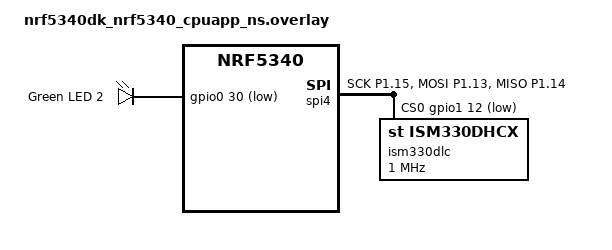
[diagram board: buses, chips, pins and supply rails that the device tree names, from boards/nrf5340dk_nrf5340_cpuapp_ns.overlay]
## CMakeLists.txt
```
cmake_minimum_required(VERSION 3.20.0)
find_package(Zephyr REQUIRED HINTS $ENV{ZEPHYR_BASE})

project(footpod-firmware)

target_sources(app PRIVATE
    src/main.c
    src/ux.c
    src/imu_service.c
)

set(DTC_OVERLAY_FILE "${CMAKE_CURRENT_SOURCE_DIR}/boards/nrf5340dk_nrf5340_cpuapp.overlay")
set(mcuboot_CONF_FILE ${CMAKE_CURRENT_SOURCE_DIR}/child_image/mcuboot.conf)
```

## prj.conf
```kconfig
# === Bluetooth Settings ===
CONFIG_BT=y
CONFIG_BT_PERIPHERAL=y
CONFIG_BT_DEVICE_NAME="nRF5340-IMU"
CONFIG_BT_MAX_CONN=1
CONFIG_BT_HCI_ACL_FLOW_CONTROL=y

# --- High-Throughput BLE Settings ---
CONFIG_BT_USER_PHY_UPDATE=y
CONFIG_BT_USER_DATA_LEN_UPDATE=y
CONFIG_BT_L2CAP_TX_MTU=251
CONFIG_BT_BUF_ACL_TX_SIZE=255
CONFIG_BT_BUF_ACL_TX_COUNT=8

CONFIG_BT_BUF_ACL_TX_SIZE=251
CONFIG_BT_BUF_ACL_RX_SIZE=251
CONFIG_BT_L2CAP_TX_MTU=247

# === System Settings ===
CONFIG_LOG=y
CONFIG_LOG_DEFAULT_LEVEL=3
CONFIG_ENTROPY_GENERATOR=y

# --- FPU and Math Support ---
CONFIG_FPU=y
CONFIG_CBPRINTF_FP_SUPPORT=y

# === Sensor & Peripherals ===
CONFIG_SENSOR=y
CONFIG_ISM330DHCX=y
CONFIG_SPI=y

# --- All-Day Burst feature ---
CONFIG_RING_BUFFER=y

# --- DFU support ---
# CONFIG_NCS_SAMPLE_MCUMGR_BT_OTA_DFU=y
# CONFIG_BOOTLOADER_MCUBOOT=y
# CONFIG_MCUMGR=y
# CONFIG_MCUMGR_TRANSPORT_BT=y
# CONFIG_IMG_MANAGER=y
# CONFIG_FLASH_MAP=y
# CONFIG_FLASH=y
# CONFIG_STREAM_FLASH=y
# CONFIG_NET_BUF=y
# CONFIG_ZCBOR=y
# CONFIG_CRC=y
# CONFIG_MCUMGR_GRP_IMG=y
# CONFIG_MCUMGR_GRP_OS=y
# CONFIG_MCUMGR_GRP_OS_BOOTLOADER_INFO=y
# CONFIG_MCUMGR_TRANSPORT_BT_REASSEMBLY=y
# === Bluetooth Settings ===


# === MCUboot Bootloader + SMP DFU ===
CONFIG_BOOTLOADER_MCUBOOT=y
CONFIG_MCUMGR=y
CONFIG_MCUMGR_TRANSPORT_BT=y
CONFIG_MCUMGR_GRP_IMG=y
CONFIG_MCUMGR_GRP_OS=y
CONFIG_IMG_MANAGER=y
# CONFIG_IMG_ERASE_PROGRESSIVELY=y

# === Flash and Storage ===
# CONFIG_MPU_ALLOW_FLASH_WRITE=y

# === Memory Management ===
# CONFIG_MINIMAL_LIBC=y
# CONFIG_HEAP_MEM_POOL_SIZE=4096

# === Utility Features ===
CONFIG_RING_BUFFER=y

CONFIG_ZCBOR=y

# --- MCUmgr / DFU (must be present) ---
CONFIG_MCUMGR_MGMT_NOTIFICATION_HOOKS=y


# Optional: allow unauthenticated SMP (depends on your security needs)
# If you prefer the generic transport symbol name (some NCS variants), keep it too:
# CONFIG_MCUMGR_TRANSPORT_BT=y

# Ensure image manager and img mgmt are enabled for DFU
# CONFIG_IMG_BLOCK_BUF_SIZE=2048


CONFIG_BT_GATT_DYNAMIC_DB=y
CONFIG_MCUMGR_TRANSPORT_BT_DYNAMIC_SVC_REGISTRATION=y
```

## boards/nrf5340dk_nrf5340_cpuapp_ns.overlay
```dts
/ {
    aliases {
        led2 = &led2;
    };

    leds {
        led2: led_2 {
            gpios = <&gpio0 30 GPIO_ACTIVE_LOW>;
            label = "Green LED 2";
        };
    };
};

&spi4 {
    status = "okay";
    pinctrl-0 = <&spi4_default>;
    pinctrl-1 = <&spi4_sleep>;
    pinctrl-names = "default", "sleep";
    cs-gpios = <&gpio1 12 GPIO_ACTIVE_LOW>;

    ism330dlc: ism330dhcx@0 {
        compatible = "st,ism330dhcx";
        reg = <0>;
        spi-max-frequency = <1000000>;
    };
};

&pinctrl {
    spi4_default: spi4_default {
        group1 {
            psels = <NRF_PSEL(SPIM_SCK, 1, 15)>,
                    <NRF_PSEL(SPIM_MOSI, 1, 13)>,
                    <NRF_PSEL(SPIM_MISO, 1, 14)>;
        };
    };

    spi4_sleep: spi4_sleep {
        group1 {
            psels = <NRF_PSEL(SPIM_SCK, 1, 15)>,
                    <NRF_PSEL(SPIM_MOSI, 1, 13)>,
                    <NRF_PSEL(SPIM_MISO, 1, 14)>;
            low-power-enable;
        };
    };
};
```

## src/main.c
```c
#include <zephyr/kernel.h>
#include <zephyr/drivers/spi.h>
#include <zephyr/device.h>
#include <zephyr/devicetree.h>
#include <zephyr/drivers/sensor.h>
#include <zephyr/drivers/gpio.h>
#include <zephyr/sys/printk.h>
#include <zephyr/bluetooth/bluetooth.h>
#include <zephyr/bluetooth/hci.h>
#include <zephyr/sys_clock.h>
#include <zephyr/sys/ring_buffer.h>
#include <math.h>
#include "imu_service.h"

#define LOG_LEVEL LOG_LEVEL_INF
#include <zephyr/logging/log.h>
LOG_MODULE_REGISTER(main);

/* SPI specification for ISM330DLC */
static const struct spi_dt_spec imu_spi_spec = SPI_DT_SPEC_GET(DT_NODELABEL(ism330dlc),
                                                               SPI_WORD_SET(8) | SPI_TRANSFER_MSB,
                                                               0);


/* --- Sensor and Application Logic --- */
#define IMU_FRAME_SIZE 24
#define BATCH_SIZE 10
#define PRE_TRIGGER_SAMPLES 26    // 1 s at 26 Hz
#define POST_TRIGGER_SAMPLES 2000 // 4 s at 500 Hz
#define BURST_DURATION_MS 20000   // 20 s
#define BURST_MAX_MS 60000        // 60 s
#define COOLDOWN_MS 10000         // 10 s
#define DAILY_BUDGET_S 1200       // 20 min
#define STEP_THRESHOLD_G 1.5      // Accel magnitude threshold
#define STEP_MIN_MS 285           // 210 spm (3.5 Hz)
#define STEP_MAX_MS 1250          // 48 spm (0.8 Hz)
#define STEP_COUNT_TRIGGER 8

static uint8_t batch_buffer[BATCH_SIZE * IMU_FRAME_SIZE];
static int batch_index = 0;
static uint16_t seq_id = 0;
static uint8_t pre_trigger_buffer[PRE_TRIGGER_SAMPLES * IMU_FRAME_SIZE];
static struct ring_buf pre_trigger_rb;
static uint32_t total_burst_ms = 0;
static int64_t last_step_time = 0;
static int step_count = 0;
static int64_t burst_start_time = 0;
static int64_t cooldown_start_time = 0;
static int post_trigger_samples_left = 0;

/* --- Devicetree Aliases --- */
static const struct device *const imu_dev = DEVICE_DT_GET(DT_NODELABEL(ism330dlc));
static const struct gpio_dt_spec button = GPIO_DT_SPEC_GET(DT_ALIAS(sw0), gpios);
static const struct gpio_dt_spec led = GPIO_DT_SPEC_GET(DT_ALIAS(led2), gpios);

/* --- Advertising Data --- */
static const struct bt_data ad[] = {
    BT_DATA_BYTES(BT_DATA_FLAGS, (BT_LE_AD_GENERAL | BT_LE_AD_NO_BREDR)),
    BT_DATA_BYTES(BT_DATA_UUID128_ALL,
                  BT_UUID_128_ENCODE(0x12345678, 0x1234, 0x5678, 0x1234, 0x1234567890ab)),
};

/* --- Application State --- */
enum app_state
{
    APP_STATE_IDLE,
    APP_STATE_SESSION,
    APP_STATE_ALLDAY,
    APP_STATE_BURST,
    APP_STATE_COOLDOWN,
};
static volatile enum app_state current_state = APP_STATE_IDLE;

/* --- Button Handling --- */
static struct gpio_callback button_cb_data;
static int64_t button_press_time = 0;

void button_pressed(const struct device *dev, struct gpio_callback *cb, uint32_t pins)
{
    int64_t now = k_uptime_get();
    if (button_press_time == 0)
    {
        button_press_time = now;
        return;
    }

    int64_t duration_ms = now - button_press_time;
    button_press_time = 0;

    if (duration_ms >= 3000) // 3 s for All-Day Mode toggle
    {
        if (current_state == APP_STATE_IDLE)
        {
            current_state = APP_STATE_ALLDAY;
            gpio_pin_set_dt(&led, 1); // Slow pulse handled in main loop
            LOG_INF("State -> ALLDAY (Low-power sampling)");
        }
        else if (current_state == APP_STATE_ALLDAY || current_state == APP_STATE_BURST || current_state == APP_STATE_COOLDOWN)
        {
            current_state = APP_STATE_IDLE;
            gpio_pin_set_dt(&led, 0);
            LOG_INF("State -> IDLE (Sampling OFF)");
            if (batch_index > 0)
            {
                imu_service_notify_motion(batch_buffer, batch_index * IMU_FRAME_SIZE);
                batch_index = 0;
            }
        }
    }
    else // Short press for Session Mode toggle
    {
        if (current_state == APP_STATE_IDLE || current_state == APP_STATE_ALLDAY)
        {
            current_state = APP_STATE_SESSION;
            gpio_pin_set_dt(&led, 1);
            LOG_INF("State -> SESSION (Streaming ON)");
        }
        else if (current_state == APP_STATE_SESSION)
        {
            current_state = APP_STATE_IDLE;
            gpio_pin_set_dt(&led, 0);
            LOG_INF("State -> IDLE (Streaming OFF)");
            if (batch_index > 0)
            {
                imu_service_notify_motion(batch_buffer, batch_index * IMU_FRAME_SIZE);
                batch_index = 0;
            }
        }
    }
}

static int button_init(void)
{
    if (!device_is_ready(button.port))
    {
        LOG_ERR("Button device not ready");
        return -ENODEV;
    }
    int ret = gpio_pin_configure_dt(&button, GPIO_INPUT);
    if (ret)
        return ret;

    ret = gpio_pin_interrupt_configure_dt(&button, GPIO_INT_EDGE_BOTH);
    if (ret)
        return ret;

    gpio_init_callback(&button_cb_data, button_pressed, BIT(button.pin));
    gpio_add_callback(button.port, &button_cb_data);
    LOG_INF("Button initialized");
    return 0;
}

static int16_t scale_accel_to_int16(const struct sensor_value *val)
{
    double scaled_val = sensor_value_to_double(val) * 1671.0;
    return CLAMP(scaled_val, INT16_MIN, INT16_MAX);
}

static int16_t scale_gyro_to_int16(const struct sensor_value *val)
{
    double scaled_val = sensor_value_to_double(val) * 7500.0;
    return CLAMP(scaled_val, INT16_MIN, INT16_MAX);
}

static void log_imu_frame(const uint8_t *frame)
{
    uint16_t seq_id;
    uint64_t timestamp_us;
    int16_t ax, ay, az, gx, gy, gz, temp_centi;

    memcpy(&seq_id, &frame[0], sizeof(seq_id));
    memcpy(&timestamp_us, &frame[2], sizeof(timestamp_us));
    memcpy(&ax, &frame[10], sizeof(ax));
    memcpy(&ay, &frame[12], sizeof(ay));
    memcpy(&az, &frame[14], sizeof(az));
    memcpy(&gx, &frame[16], sizeof(gx));
    memcpy(&gy, &frame[18], sizeof(gy));
    memcpy(&gz, &frame[20], sizeof(gz));
    memcpy(&temp_centi, &frame[22], sizeof(temp_centi)); 

    LOG_INF("Frame Seq=%u Time=%llu us", seq_id, timestamp_us);
    LOG_INF("Accel[g*1671]= X:%d Y:%d Z:%d", ax, ay, az);
    LOG_INF("Gyro[*7500]= X:%d Y:%d Z:%d", gx, gy, gz);
    LOG_INF("Temp[°C*100]= %d (%.2f °C)", temp_centi, temp_centi / 100.0);

    // Also show raw hex bytes for BLE payload
    char hex[IMU_FRAME_SIZE * 3 + 1];
    for (int i = 0; i < IMU_FRAME_SIZE; i++)
        sprintf(&hex[i * 3], "%02X ", frame[i]);
    hex[IMU_FRAME_SIZE * 3] = '\0';
    LOG_INF("Raw BLE frame: %s", hex);
}

/**
 * Read the temperature from the IMU via SPI and return it as °C * 100.
 * According to datasheet: T(°C) = 25 + (TEMP_OUT / 16)
 */
static int16_t read_imu_temperature(void) {
    if (!device_is_ready(imu_spi_spec.bus)) {
        LOG_ERR("SPI bus not ready");
        return INT16_MIN;
    }

    // Prepare TX to read from OUT_TEMP_L and OUT_TEMP_H (auto-increment)
    // For SPI, set MSB of reg address for read; 
    // if auto-inc needed, set the auto-increment bit (usually bit 7 or such) 
    uint8_t tx_buf[3] = {0x20 | 0x80, 0x00, 0x00};
    uint8_t rx_buf[3] = {0};

    const struct spi_buf tx = {.buf = tx_buf, .len = sizeof(tx_buf)};
    const struct spi_buf rx = {.buf = rx_buf, .len = sizeof(rx_buf)};
    const struct spi_buf_set tx_set = {.buffers = &tx, .count = 1};
    const struct spi_buf_set rx_set = {.buffers = &rx, .count = 1};

    int ret = spi_transceive_dt(&imu_spi_spec, &tx_set, &rx_set);
    if (ret < 0) {
        LOG_ERR("Failed temp SPI read (err %d)", ret);
        return INT16_MIN;
    }

    // rx_buf[1] holds OUT_TEMP_L, rx_buf[2] OUT_TEMP_H
    uint16_t raw_u = (uint16_t)((rx_buf[2] << 8) | rx_buf[1]);
    int16_t raw = (int16_t)raw_u;  // interpret as signed

    // Convert per datasheet
    float temp_c = 25.0f + ((float)raw / 256.0f);
    int16_t temp_centi = (int16_t)(temp_c * 100.0f);

    return temp_centi;
}

static void read_and_process_imu(bool high_freq)
{
    uint8_t frame[IMU_FRAME_SIZE] = {0};
    struct sensor_value accel[3], gyro[3];
    int16_t temp_cx100;

    if (sensor_sample_fetch(imu_dev) < 0)
    {
        LOG_ERR("Sensor sample fetch failed");
        return;
    }

    sensor_channel_get(imu_dev, SENSOR_CHAN_ACCEL_XYZ, accel);
    sensor_channel_get(imu_dev, SENSOR_CHAN_GYRO_XYZ, gyro);
    
    temp_cx100 = read_imu_temperature();

    uint16_t current_seq_id = seq_id++;
    uint64_t timestamp_us = k_ticks_to_us_floor64(k_uptime_ticks());
    memcpy(&frame[0], &current_seq_id, sizeof(current_seq_id));
    memcpy(&frame[2], &timestamp_us, sizeof(timestamp_us));

    int16_t ax = scale_accel_to_int16(&accel[0]);
    int16_t ay = scale_accel_to_int16(&accel[1]);
    int16_t az = scale_accel_to_int16(&accel[2]);
    int16_t gx = scale_gyro_to_int16(&gyro[0]);
    int16_t gy = scale_gyro_to_int16(&gyro[1]);
    int16_t gz = scale_gyro_to_int16(&gyro[2]);

    memcpy(&frame[10], &ax, sizeof(ax));
    memcpy(&frame[12], &ay, sizeof(ay));
    memcpy(&frame[14], &az, sizeof(az));
    memcpy(&frame[16], &gx, sizeof(gx));
    memcpy(&frame[18], &gy, sizeof(gy));
    memcpy(&frame[20], &gz, sizeof(gz));
    memcpy(&frame[22], &temp_cx100, sizeof(temp_cx100));

    if (high_freq)
    {
        memcpy(&batch_buffer[batch_index * IMU_FRAME_SIZE], frame, IMU_FRAME_SIZE);
        batch_index++;
        if (batch_index == BATCH_SIZE)
        {
            imu_service_notify_motion(batch_buffer, BATCH_SIZE * IMU_FRAME_SIZE);
            batch_index = 0;
        }
    }
    else
    {
        ring_buf_put(&pre_trigger_rb, frame, IMU_FRAME_SIZE);
        if (ring_buf_space_get(&pre_trigger_rb) == 0)
        {
            uint8_t temp[IMU_FRAME_SIZE];
            ring_buf_get(&pre_trigger_rb, temp, IMU_FRAME_SIZE);
        }
        log_imu_frame(frame);
        imu_service_notify_motion(frame, IMU_FRAME_SIZE); // Single sample for low freq
    }

    if (current_state == APP_STATE_ALLDAY)
    {
        double ax_g = sensor_value_to_double(&accel[0]);
        double ay_g = sensor_value_to_double(&accel[1]);
        double az_g = sensor_value_to_double(&accel[2]);
        double mag = sqrt(ax_g * ax_g + ay_g * ay_g + az_g * az_g);

        int64_t now = k_uptime_get();
        int64_t delta_ms = now - last_step_time;

        if (mag > STEP_THRESHOLD_G && delta_ms >= STEP_MIN_MS && delta_ms <= STEP_MAX_MS)
        {
            step_count++;
            last_step_time = now;
            LOG_INF("Step detected, count: %d", step_count);
            if (step_count >= STEP_COUNT_TRIGGER && total_burst_ms < DAILY_BUDGET_S * 1000)
            {
                current_state = APP_STATE_BURST;
                burst_start_time = now;
                // Copy pre-trigger buffer to batch
                uint32_t bytes = ring_buf_get(&pre_trigger_rb, batch_buffer, PRE_TRIGGER_SAMPLES * IMU_FRAME_SIZE);
                batch_index = bytes / IMU_FRAME_SIZE;
                LOG_INF("State -> BURST (Steps detected)");
            }
        }
        else if (delta_ms > STEP_MAX_MS)
        {
            step_count = 0; // Reset if too long between steps
        }
    }
}

static int sensor_imu_init(void)
{
    if (!device_is_ready(imu_dev))
    {
        LOG_ERR("IMU not ready");
        return -ENODEV;
    }
    struct sensor_value odr_attr = {.val1 = 26, .val2 = 0}; // Default to 26 Hz
    if (sensor_attr_set(imu_dev, SENSOR_CHAN_ACCEL_XYZ, SENSOR_ATTR_SAMPLING_FREQUENCY, &odr_attr) != 0)
    {
        LOG_ERR("Failed to set accel ODR");
        return -EIO;
    }
    if (sensor_attr_set(imu_dev, SENSOR_CHAN_GYRO_XYZ, SENSOR_ATTR_SAMPLING_FREQUENCY, &odr_attr) != 0)
    {
        LOG_ERR("Failed to set gyro ODR");
        return -EIO;
    }
    LOG_INF("IMU sensor configured for 26 Hz");
    return 0;
}

static int set_imu_odr(int freq_hz)
{
    struct sensor_value odr_attr = {.val1 = freq_hz, .val2 = 0};
    if (sensor_attr_set(imu_dev, SENSOR_CHAN_ACCEL_XYZ, SENSOR_ATTR_SAMPLING_FREQUENCY, &odr_attr) != 0)
    {
        LOG_ERR("Failed to set accel ODR to %d Hz", freq_hz);
        return -EIO;
    }
    if (sensor_attr_set(imu_dev, SENSOR_CHAN_GYRO_XYZ, SENSOR_ATTR_SAMPLING_FREQUENCY, &odr_attr) != 0)
    {
        LOG_ERR("Failed to set gyro ODR to %d Hz", freq_hz);
        return -EIO;
    }
    LOG_INF("IMU ODR set to %d Hz", freq_hz);
    return 0;
}

void main(void)
{
    int err;
    LOG_INF("IMU BLE Auto-Burst Example Starting...");

    if (!device_is_ready(led.port))
    {
        LOG_ERR("LED device not ready");
        return;
    }
    err = gpio_pin_configure_dt(&led, GPIO_OUTPUT_INACTIVE);
    if (err)
    {
        LOG_ERR("Failed to configure LED");
        return;
    }

    err = button_init();
    if (err)
    {
        LOG_ERR("Failed to initialize button");
        return;
    }

    err = sensor_imu_init();
    if (err)
    {
        LOG_ERR("Failed to initialize sensor");
        return;
    }

    ring_buf_init(&pre_trigger_rb, PRE_TRIGGER_SAMPLES * IMU_FRAME_SIZE, pre_trigger_buffer);

    err = bt_enable(NULL);
    if (err)
    {
        LOG_ERR("Bluetooth init failed (err %d)", err);
        return;
    }
    LOG_INF("Bluetooth initialized");

    imu_service_init();

    err = bt_le_adv_start(BT_LE_ADV_CONN_NAME, ad, ARRAY_SIZE(ad), NULL, 0);
    if (err)
    {
        LOG_ERR("Advertising failed to start (err %d)", err);
        return;
    }
    LOG_INF("Advertising started. Short press for session, 3s press for all-day mode, or write to Control char.");

    int64_t last_budget_reset = k_uptime_get();
    while (1)
    {
        if (current_state == APP_STATE_IDLE && imu_service_is_start_commanded())
        {
            current_state = APP_STATE_SESSION;
            gpio_pin_set_dt(&led, 1);
            LOG_INF("State -> SESSION (Host start command)");
        }

        if (current_state == APP_STATE_SESSION)
        {
            set_imu_odr(520);
            read_and_process_imu(true);
            k_sleep(K_MSEC(2));       // 500 Hz
            gpio_pin_set_dt(&led, 1); // Solid for session
        }
        else if (current_state == APP_STATE_ALLDAY)
        {
            set_imu_odr(26);
            read_and_process_imu(false);
            k_sleep(K_MSEC(38)); // ~26 Hz
            // Slow pulse for ALLDAY
            gpio_pin_set_dt(&led, (k_uptime_get() % 1000) < 500 ? 1 : 0);
        }
        else if (current_state == APP_STATE_BURST)
        {
            set_imu_odr(520);
            read_and_process_imu(true);
            int64_t now = k_uptime_get();
            if (step_count == 0 && post_trigger_samples_left == 0)
            {
                post_trigger_samples_left = POST_TRIGGER_SAMPLES;
            }
            if (post_trigger_samples_left > 0)
            {
                post_trigger_samples_left--;
                if (post_trigger_samples_left == 0)
                {
                    current_state = APP_STATE_COOLDOWN;
                    cooldown_start_time = now;
                    LOG_INF("State -> COOLDOWN (Post-trigger complete)");
                }
            }
            else if (now - burst_start_time >= BURST_MAX_MS || total_burst_ms >= DAILY_BUDGET_S * 1000)
            {
                current_state = APP_STATE_COOLDOWN;
                cooldown_start_time = now;
                LOG_INF("State -> COOLDOWN (Burst timeout or budget exceeded)");
            }
            total_burst_ms += 2;
            k_sleep(K_MSEC(2)); // 500 Hz
            // Fast blink for BURST
            gpio_pin_set_dt(&led, (k_uptime_get() % 200) < 100 ? 1 : 0);
        }
        else if (current_state == APP_STATE_COOLDOWN)
        {
            if (batch_index > 0)
            {
                imu_service_notify_motion(batch_buffer, batch_index * IMU_FRAME_SIZE);
                batch_index = 0;
            }
            int64_t now = k_uptime_get();
            if (now - cooldown_start_time >= COOLDOWN_MS)
            {
                current_state = APP_STATE_ALLDAY;
                step_count = 0;
                LOG_INF("State -> ALLDAY (Cooldown complete)");
            }
            k_sleep(K_MSEC(38));      // ~26 Hz
            gpio_pin_set_dt(&led, 0); // Off for cooldown
        }
        else
        {
            k_sleep(K_MSEC(100)); // Idle
            gpio_pin_set_dt(&led, 0);
        }

        // Reset daily budget every 24 hours
        if (k_uptime_get() - last_budget_reset >= 24 * 60 * 60 * 1000)
        {
            total_burst_ms = 0;
            last_budget_reset = k_uptime_get();
            LOG_INF("Daily burst budget reset");
        }
    }
}
```

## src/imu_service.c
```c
#include "imu_service.h"

#include <zephyr/kernel.h>
#include <zephyr/sys/printk.h>
#include <zephyr/random/random.h>
#include <zephyr/sys/util.h>
#include <zephyr/bluetooth/bluetooth.h>
#include <zephyr/bluetooth/conn.h>
#include <zephyr/bluetooth/gatt.h>
#include <string.h>
#include <errno.h>
#include <stdint.h>

/* --- UUIDs (custom 128-bit) --- */
static struct bt_uuid_128 imu_service_uuid = BT_UUID_INIT_128(
    BT_UUID_128_ENCODE(0x12345678, 0x1234, 0x5678, 0x1234, 0x1234567890ab));

static struct bt_uuid_128 imu_motion_char_uuid = BT_UUID_INIT_128(
    BT_UUID_128_ENCODE(0x12345679, 0x1234, 0x5678, 0x1234, 0x1234567890ab));

static struct bt_uuid_128 imu_control_char_uuid = BT_UUID_INIT_128(
    BT_UUID_128_ENCODE(0x1234567a, 0x1234, 0x5678, 0x1234, 0x1234567890ab));

/* Track whether notifications enabled (by CCCD) */
static bool motion_notify_enabled;
static bool start_commanded;

/* Track single reference to the current connection (if any) */
static struct bt_conn *default_conn;

/* Attribute indices */
enum
{
    ATTR_IDX_PRIMARY = 0,
    ATTR_IDX_MOTION_CHRC,
    ATTR_IDX_MOTION_VAL,
    ATTR_IDX_MOTION_CCCD,
    ATTR_IDX_CONTROL_CHRC,
    ATTR_IDX_CONTROL_VAL,
    ATTR_COUNT
};

/* CCC config changed callback */
static void imu_motion_ccc_cfg_changed(const struct bt_gatt_attr *attr, uint16_t value)
{
    ARG_UNUSED(attr);
    motion_notify_enabled = (value == BT_GATT_CCC_NOTIFY) ? true : false;
    printk("IMU: motion notify %s\n", motion_notify_enabled ? "ENABLED" : "DISABLED");
}

/* Motion read handler */
static ssize_t imu_motion_read(struct bt_conn *conn,
                               const struct bt_gatt_attr *attr,
                               void *buf, uint16_t len, uint16_t offset)
{
    const char *payload = "IMUv1";
    return bt_gatt_attr_read(conn, attr, buf, len, offset, payload, strlen(payload));
}

/* Control write handler */
static ssize_t imu_control_write(struct bt_conn *conn,
                                 const struct bt_gatt_attr *attr,
                                 const void *buf, uint16_t len, uint16_t offset,
                                 uint8_t flags)
{
    if (len != 1 || offset != 0)
    {
        return BT_GATT_ERR(BT_ATT_ERR_INVALID_ATTRIBUTE_LEN);
    }
    uint8_t command = ((uint8_t *)buf)[0];
    if (command == 0x01) // Start command
    {
        start_commanded = true;
        printk("IMU: Start command received\n");
    }
    return len;
}

/* GATT service definition */
BT_GATT_SERVICE_DEFINE(imu_svc,
                       BT_GATT_PRIMARY_SERVICE(&imu_service_uuid),

                       /* Motion characteristic (notify + read) */
                       BT_GATT_CHARACTERISTIC(&imu_motion_char_uuid.uuid,
                                              BT_GATT_CHRC_NOTIFY | BT_GATT_CHRC_READ,
                                              BT_GATT_PERM_READ,
                                              imu_motion_read, NULL, NULL),
                       BT_GATT_CCC(imu_motion_ccc_cfg_changed,
                                   BT_GATT_PERM_READ | BT_GATT_PERM_WRITE),

                       /* Control characteristic (write) */
                       BT_GATT_CHARACTERISTIC(&imu_control_char_uuid.uuid,
                                              BT_GATT_CHRC_WRITE,
                                              BT_GATT_PERM_WRITE,
                                              NULL, imu_control_write, NULL));

/* Connection callbacks */
static void connected_cb(struct bt_conn *conn, uint8_t err)
{
    if (err)
    {
        printk("IMU: connection failed (err %u)\n", err);
        return;
    }
    if (default_conn)
    {
        bt_conn_unref(default_conn);
    }
    default_conn = bt_conn_ref(conn);
    printk("IMU: connected\n");
}

static void disconnected_cb(struct bt_conn *conn, uint8_t reason)
{
    ARG_UNUSED(conn);
    if (default_conn)
    {
        bt_conn_unref(default_conn);
        default_conn = NULL;
    }
    motion_notify_enabled = false;
    start_commanded = false;
    printk("IMU: disconnected (reason %u)\n", reason);
}

static struct bt_conn_cb conn_callbacks = {
    .connected = connected_cb,
    .disconnected = disconnected_cb,
};

int imu_service_init(void)
{
    bt_conn_cb_register(&conn_callbacks);
    start_commanded = false;
    printk("IMU service: initialized\n");
    return 0;
}

bool imu_service_is_start_commanded(void)
{
    return start_commanded;
}

static uint16_t get_conn_att_mtu(struct bt_conn *conn)
{
    uint16_t mtu = 0;
    if (conn)
    {
        mtu = bt_gatt_get_mtu(conn);
    }
    return mtu ? mtu : 23;
}

int imu_service_notify_motion(const void *data, uint16_t len)
{
    if (!motion_notify_enabled)
    {
        return -EACCES;
    }
    if (!default_conn)
    {
        return -ENOTCONN;
    }
    if (!data || len == 0)
    {
        return -EINVAL;
    }

    const struct bt_gatt_attr *attr = &imu_svc.attrs[ATTR_IDX_MOTION_VAL];
    uint16_t mtu = get_conn_att_mtu(default_conn);
    size_t max_payload = (mtu > 3) ? (mtu - 3) : 20;

    const uint8_t *ptr = data;
    size_t remaining = len;
    int rc = 0;

    while (remaining > 0)
    {
        size_t chunk = MIN(remaining, max_payload);
        int attempts = 0;
        const int max_attempts = 6;
        while (attempts < max_attempts)
        {
            rc = bt_gatt_notify(default_conn, attr, ptr, chunk);
            if (rc == -ENOMEM)
            {
                attempts++;
                k_msleep(5 + attempts * 2);
                continue;
            }
            break;
        }
        if (rc < 0)
        {
            printk("IMU: notify chunk failed (rc=%d) after %d attempts\n", rc, attempts);
            return rc;
        }
        ptr += chunk;
        remaining -= chunk;
    }
    return 0;
}
```

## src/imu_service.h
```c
#ifndef IMU_SERVICE_H
#define IMU_SERVICE_H

#include <zephyr/types.h>
#include <zephyr/bluetooth/gatt.h>

#ifdef __cplusplus
extern "C"
{
#endif

    /** Initialize the IMU GATT service. Call after bt_enable() success. */
    int imu_service_init(void);

    /**
     * Notify connected subscribed clients with a motion frame.
     * - data: pointer to byte buffer (frame format below)
     * - len: length in bytes
     *
     * Returns 0 on success or a negative errno on failure.
     *
     * Frame format used by this example (packed, little-endian):
     * [seq_id:uint16][t_us:uint64][ax:int16][ay:int16][az:int16][gx:int16][gy:int16][gz:int16][temp:int16]
     * => 2 + 8 + 2*7 = 24 bytes
     *
     * The notifier will:
     *  - check that notifications are enabled by the client,
     *  - use the negotiated ATT MTU to send chunks of at most (MTU - 3),
     *  - retry briefly on transient -ENOMEM buffer shortage.
     */
    int imu_service_notify_motion(const void *data, uint16_t len);

    /**
     * Check if the host has sent a start command.
     * Returns true if start command received, false otherwise.
     */
    bool imu_service_is_start_commanded(void);

#endif /* IMU_SERVICE_H */
```

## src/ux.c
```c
#define LOG_LEVEL CONFIG_LOG_DEFAULT_LEVEL
#include <zephyr/logging/log.h>
LOG_MODULE_REGISTER(ux, CONFIG_LOG_DEFAULT_LEVEL);

#include "ux.h"

#include <zephyr/kernel.h>
#include <zephyr/device.h>
#include <zephyr/drivers/gpio.h>
#include <zephyr/sys/printk.h>
#include <zephyr/devicetree.h>
#include <zephyr/sys/util.h>

/* Devicetree aliases (expected): led0, sw0 */
#if DT_NODE_HAS_STATUS(DT_ALIAS(led0), okay)
#define LED_NODE DT_ALIAS(led0)
#else
#error "No DT_ALIAS(led0) found — add overlay or update board DTS"
#endif

#if DT_NODE_HAS_STATUS(DT_ALIAS(sw0), okay)
#define SW_NODE DT_ALIAS(sw0)
#else
#error "No DT_ALIAS(sw0) found — add overlay or update board DTS"
#endif

/* gpio_dt_spec convenience */
static const struct gpio_dt_spec led_gpio = GPIO_DT_SPEC_GET(LED_NODE, gpios);
static const struct gpio_dt_spec btn_gpio = GPIO_DT_SPEC_GET(SW_NODE, gpios);

/* Basic timings (ms) — tweak if you want faster/slower UX */
#define DEBOUNCE_MS 50
#define SHORT_MAX_MS 2000 /* <2s considered short */
#define CALIBRATE_MS 3000 /* >=3s calibrate */
#define HARDRESET_MS 8000 /* >=8s hard reset */

#define BLINK_FAST_ON_MS 100
#define BLINK_FAST_OFF_MS 100
#define BLINK_SLOW_ON_MS 300
#define BLINK_SLOW_OFF_MS 300
#define PULSE_ON_MS 1000
#define PULSE_OFF_MS 1000
#define ERROR_SHORT_MS 150
#define ERROR_GAP_MS 400

/* UX state */
static enum ux_state current_state = UX_STATE_BOOT;

/* user callback */
static ux_event_cb_t user_cb = NULL;

/* Button tracking */
static struct gpio_callback btn_cb_data;
static struct k_work_delayable btn_timeout_work;
static int64_t btn_press_time_ms = 0;
static bool btn_pressed = false;

/* LED work */
static struct k_work_delayable led_work;
static int led_is_on = 0;

/* internal pattern state */
enum led_pattern
{
    PATTERN_OFF,
    PATTERN_SOLID_ON,
    PATTERN_BLINK_FAST,
    PATTERN_BLINK_SLOW,
    PATTERN_PULSE,        /* slow breathe approximation */
    PATTERN_ERROR_DOUBLE, /* two quick blinks + pause */
};

static enum led_pattern active_pattern = PATTERN_OFF;
static int error_phase = 0; /* for double flash state machine */

/* Forward declarations */
static void led_work_handler(struct k_work *work);
static void start_led_pattern(enum led_pattern p);
static void stop_led_pattern(void);
static void btn_timeout_handler(struct k_work *work);

/* GPIO helpers */
static inline int led_set(int on)
{
    if (!device_is_ready(led_gpio.port))
    {
        LOG_ERR("LED GPIO port not ready");
        return -ENODEV;
    }

    /* note: many dev boards use GPIO_ACTIVE_LOW for LEDs.
     * gpio_pin_set_dt expects logical level; device tree config determines polarity.
     */
    int r = gpio_pin_set_dt(&led_gpio, on ? 1 : 0);
    if (r < 0)
    {
        LOG_ERR("Failed to set LED: %d", r);
    }
    else
    {
        led_is_on = on;
    }
    return r;
}

/* led_work performs the timed toggles for blink/pulse/error */
static void led_work_handler(struct k_work *work)
{
    int rc;
    switch (active_pattern)
    {
    case PATTERN_SOLID_ON:
        led_set(1);
        /* no reschedule */
        return;

    case PATTERN_BLINK_FAST:
        led_set(!led_is_on);
        rc = k_work_reschedule(&led_work, K_MSEC(led_is_on ? BLINK_FAST_OFF_MS : BLINK_FAST_ON_MS));
        if (rc)
            LOG_DBG("resched err %d", rc);
        return;

    case PATTERN_BLINK_SLOW:
        led_set(!led_is_on);
        rc = k_work_reschedule(&led_work, K_MSEC(led_is_on ? BLINK_SLOW_OFF_MS : BLINK_SLOW_ON_MS));
        if (rc)
            LOG_DBG("resched err %d", rc);
        return;

    case PATTERN_PULSE:
        /* simple on/off pulse to mimic breathe */
        led_set(!led_is_on);
        rc = k_work_reschedule(&led_work, K_MSEC(led_is_on ? PULSE_OFF_MS : PULSE_ON_MS));
        if (rc)
            LOG_DBG("resched err %d", rc);
        return;

    case PATTERN_ERROR_DOUBLE:
        /* state machine: two shorts, gap, repeat */
        if (error_phase == 0)
        { /* first short on */
            led_set(1);
            error_phase = 1;
            rc = k_work_reschedule(&led_work, K_MSEC(ERROR_SHORT_MS));
            if (rc)
                LOG_DBG("resched err %d", rc);
            return;
        }
        else if (error_phase == 1)
        { /* first short off */
            led_set(0);
            error_phase = 2;
            rc = k_work_reschedule(&led_work, K_MSEC(ERROR_GAP_MS));
            if (rc)
                LOG_DBG("resched err %d", rc);
            return;
        }
        else if (error_phase == 2)
        { /* second short on */
            led_set(1);
            error_phase = 3;
            rc = k_work_reschedule(&led_work, K_MSEC(ERROR_SHORT_MS));
            if (rc)
                LOG_DBG("resched err %d", rc);
            return;
        }
        else
        { /* second short off -> longer pause then repeat */
            led_set(0);
            error_phase = 0;
            rc = k_work_reschedule(&led_work, K_MSEC(PULSE_OFF_MS * 2));
            if (rc)
                LOG_DBG("resched err %d", rc);
            return;
        }

    default:
        led_set(0);
        return;
    }
}

/* Activate a pattern: sets active_pattern and starts the worker */
static void start_led_pattern(enum led_pattern p)
{
    active_pattern = p;
    error_phase = 0;

    switch (p)
    {
    case PATTERN_SOLID_ON:
        k_work_cancel_delayable(&led_work);
        led_set(1);
        break;
    case PATTERN_BLINK_FAST:
        k_work_cancel_delayable(&led_work);
        led_set(0);
        k_work_reschedule(&led_work, K_MSEC(BLINK_FAST_OFF_MS));
        break;
    case PATTERN_BLINK_SLOW:
        k_work_cancel_delayable(&led_work);
        led_set(0);
        k_work_reschedule(&led_work, K_MSEC(BLINK_SLOW_OFF_MS));
        break;
    case PATTERN_PULSE:
        k_work_cancel_delayable(&led_work);
        led_set(0);
        k_work_reschedule(&led_work, K_MSEC(PULSE_OFF_MS));
        break;
    case PATTERN_ERROR_DOUBLE:
        k_work_cancel_delayable(&led_work);
        error_phase = 0;
        led_set(0);
        k_work_reschedule(&led_work, K_MSEC(100));
        break;
    default:
        stop_led_pattern();
        break;
    }
}

static void stop_led_pattern(void)
{
    k_work_cancel_delayable(&led_work);
    led_set(0);
    active_pattern = PATTERN_OFF;
}

/* Map logical ux state to LED pattern */
static void apply_state_pattern(enum ux_state s)
{
    switch (s)
    {
    case UX_STATE_BOOT:
        start_led_pattern(PATTERN_BLINK_FAST);
        break;
    case UX_STATE_IDLE:
        start_led_pattern(PATTERN_PULSE);
        break;
    case UX_STATE_CALIBRATE:
        start_led_pattern(PATTERN_BLINK_FAST);
        break;
    case UX_STATE_SESSION:
        start_led_pattern(PATTERN_SOLID_ON);
        break;
    case UX_STATE_ERROR:
        start_led_pattern(PATTERN_ERROR_DOUBLE);
        break;
    default:
        stop_led_pattern();
        break;
    }
}

/* Button release handler will schedule this with debounce */
static void btn_timeout_handler(struct k_work *work)
{
    int64_t now = k_uptime_get();
    int64_t pressed_for = 0;

    if (btn_press_time_ms > 0)
    {
        pressed_for = now - btn_press_time_ms;
    }

    btn_pressed = false;
    btn_press_time_ms = 0;

    if (pressed_for < SHORT_MAX_MS)
    {
        LOG_DBG("button short: %lld ms", pressed_for);
        if (user_cb)
            user_cb(UX_EVENT_SHORT_PRESS);
    }
    else if (pressed_for >= CALIBRATE_MS && pressed_for < HARDRESET_MS)
    {
        LOG_DBG("button calibrate: %lld ms", pressed_for);
        if (user_cb)
            user_cb(UX_EVENT_CALIBRATE);
    }
    else if (pressed_for >= HARDRESET_MS)
    {
        LOG_DBG("button hard reset: %lld ms", pressed_for);
        if (user_cb)
            user_cb(UX_EVENT_HARD_RESET);
    }
    else
    {
        /* fallback: treat as short */
        if (user_cb)
            user_cb(UX_EVENT_SHORT_PRESS);
    }
}

/* GPIO callback for button edge */
static void btn_gpio_cb(const struct device *dev, struct gpio_callback *cb, uint32_t pins)
{
    ARG_UNUSED(dev);
    ARG_UNUSED(cb);
    ARG_UNUSED(pins);

    bool val = gpio_pin_get_dt(&btn_gpio) ? true : false;
    int64_t now = k_uptime_get();

    /* Button signalling convention depends on board: many use ACTIVE_LOW so value==0 when pressed.
     * gpio_dt_spec respects that and gpio_pin_get_dt returns logical 1/0; but safest is to test:
     */
    /* If button is "pressed" (logical 0 if active low) — gpio_pin_get_dt returns 0; invert if active low? */
    bool pressed = !val ? true : false; /* usually works for active-low buttons */
    /* To be robust, determine behaviour by checking gpio_dt_flags? Skipped for brevity. */

    if (pressed)
    {
        /* press event */
        if (!btn_pressed)
        {
            btn_pressed = true;
            btn_press_time_ms = now;
            /* No immediate action; wait for release or long press detection */
        }
    }
    else
    {
        /* release event: schedule debounce check */
        k_work_reschedule(&btn_timeout_work, K_MSEC(DEBOUNCE_MS));
    }
}

/* Public API implementations */

int ux_init(ux_event_cb_t cb)
{
    int rc;

    if (cb == NULL)
    {
        LOG_WRN("ux_init called with NULL callback");
    }
    user_cb = cb;

    if (!device_is_ready(led_gpio.port))
    {
        LOG_ERR("LED GPIO device not ready");
        return -ENODEV;
    }

    if (!device_is_ready(btn_gpio.port))
    {
        LOG_ERR("Button GPIO device not ready");
        return -ENODEV;
    }

    /* Configure LED pin as output, start OFF */
    rc = gpio_pin_configure_dt(&led_gpio, GPIO_OUTPUT_INACTIVE);
    if (rc)
    {
        LOG_ERR("Failed to configure LED gpio: %d", rc);
        return rc;
    }

    /* Configure button pin as input with interrupt on both edges */
    rc = gpio_pin_configure_dt(&btn_gpio, GPIO_INPUT);
    if (rc)
    {
        LOG_ERR("Failed to configure button gpio: %d", rc);
        return rc;
    }

    rc = gpio_pin_interrupt_configure_dt(&btn_gpio, GPIO_INT_EDGE_BOTH);
    if (rc)
    {
        LOG_ERR("Failed to configure button interrupts: %d", rc);
        return rc;
    }

    gpio_init_callback(&btn_cb_data, btn_gpio_cb, BIT(btn_gpio.pin));
    gpio_add_callback(btn_gpio.port, &btn_cb_data);

    /* init work items */
    k_work_init_delayable(&led_work, led_work_handler);
    k_work_init_delayable(&btn_timeout_work, btn_timeout_handler);

    /* start in boot pattern briefly */
    current_state = UX_STATE_BOOT;
    apply_state_pattern(current_state);

    LOG_INF("UX module initialized");
    return 0;
}

void ux_set_state(enum ux_state state)
{
    if (state == current_state)
        return;
    current_state = state;

    LOG_INF("UX state -> %d", state);
    apply_state_pattern(state);
}

void ux_trigger_error(void)
{
    current_state = UX_STATE_ERROR;
    apply_state_pattern(UX_STATE_ERROR);
}

void ux_force_blink_once(void)
{
    start_led_pattern(PATTERN_BLINK_FAST);
}
```

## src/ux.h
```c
#ifndef UX_H_
#define UX_H_

#include <zephyr/types.h>

#ifdef __cplusplus
extern "C" {
#endif

enum ux_state {
    UX_STATE_BOOT,
    UX_STATE_IDLE,
    UX_STATE_CALIBRATE,
    UX_STATE_SESSION,
    UX_STATE_ERROR,
};

enum ux_event {
    UX_EVENT_NONE = 0,
    UX_EVENT_SHORT_PRESS,   /* short press (start/stop) */
    UX_EVENT_CALIBRATE,     /* 3s press */
    UX_EVENT_HARD_RESET,    /* 8s press */
    UX_EVENT_BUTTON_HELD,   /* internal: button held threshold */
};

/* signature for app callback */
typedef void (*ux_event_cb_t)(enum ux_event ev);

/* Initialize the UX module. Must be called once at boot (before usage). */
int ux_init(ux_event_cb_t cb);

/* Set the logical state; module will apply the matching LED pattern */
void ux_set_state(enum ux_state state);

/* Convenience: trigger an error pattern (e.g., pass a code if you want) */
void ux_trigger_error(void);

/* Change LED pattern directly (advanced use). Useful for diagnostics */
void ux_force_blink_once(void);

#ifdef __cplusplus
}
#endif

#endif /* UX_H_ */
```
